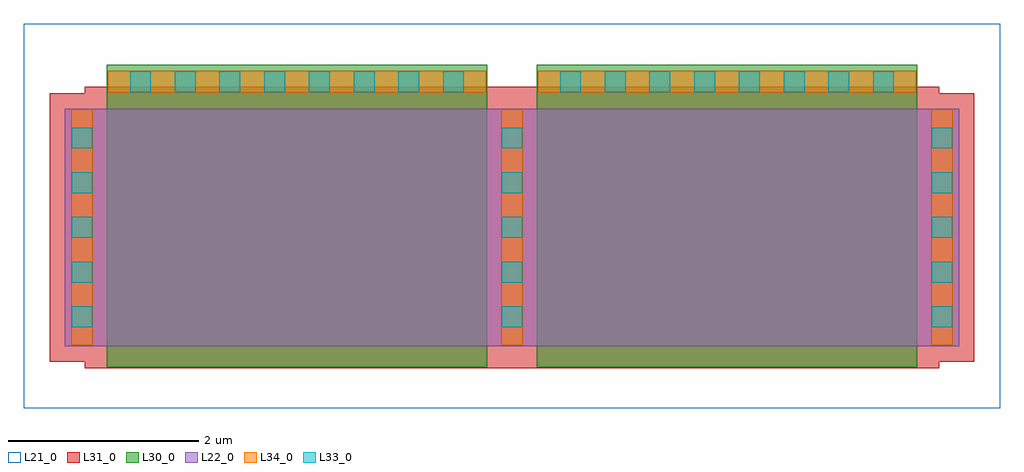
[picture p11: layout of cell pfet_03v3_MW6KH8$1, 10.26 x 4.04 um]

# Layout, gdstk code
import gdstk
lib = gdstk.Library(unit=1e-6, precision=1e-09)
def R(c, l, rs):  # rectangles x0, y0, x1, y1
    for r in rs: c.add(gdstk.rectangle(r[:2], r[2:], *l))
def A(c, l, x, y, w, h, nx, ny, dx, dy):  # array of equal rectangles
    R(c, l, [(x+i*dx, y+j*dy, x+i*dx+w, y+j*dy+h) for i in range(nx) for j in range(ny)])
L21_0 = (21, 0)
L22_0 = (22, 0)
L30_0 = (30, 0)
L31_0 = (31, 0)
L33_0 = (33, 0)
L34_0 = (34, 0)

pfet_03v3_mw6kh8_1 = lib.new_cell('pfet_03v3_MW6KH8$1')
R(pfet_03v3_mw6kh8_1, L21_0, [(-5.13,-2.02,5.13,2.02)])
R(pfet_03v3_mw6kh8_1, L22_0, [(-4.7,-1.37,4.7,1.13)])
R(pfet_03v3_mw6kh8_1, L30_0, [(-4.26,-1.59,-0.26,1.59), (0.26,-1.59,4.26,1.59)])
R(pfet_03v3_mw6kh8_1, L31_0, [(-4.49,-1.6,4.49,-1.53), (-4.86,-1.53,4.86,1.29), (-4.49,1.29,4.49,1.36)])
A(pfet_03v3_mw6kh8_1, L33_0, -4.63, -1.17, 0.22, 0.22, 3, 5, 4.52, 0.47)
A(pfet_03v3_mw6kh8_1, L33_0, -4.015, 1.3, 0.22, 0.22, 8, 1, 0.47, 0)
A(pfet_03v3_mw6kh8_1, L33_0, 0.505, 1.3, 0.22, 0.22, 8, 1, 0.47, 0)
A(pfet_03v3_mw6kh8_1, L34_0, -4.635, -1.36, 0.23, 2.48, 3, 1, 4.52, 0)
R(pfet_03v3_mw6kh8_1, L34_0, [(-4.25,1.295,-0.27,1.525), (0.27,1.295,4.25,1.525)])

lib.write_gds('pfet_03v3_MW6KH8_1.gds')
